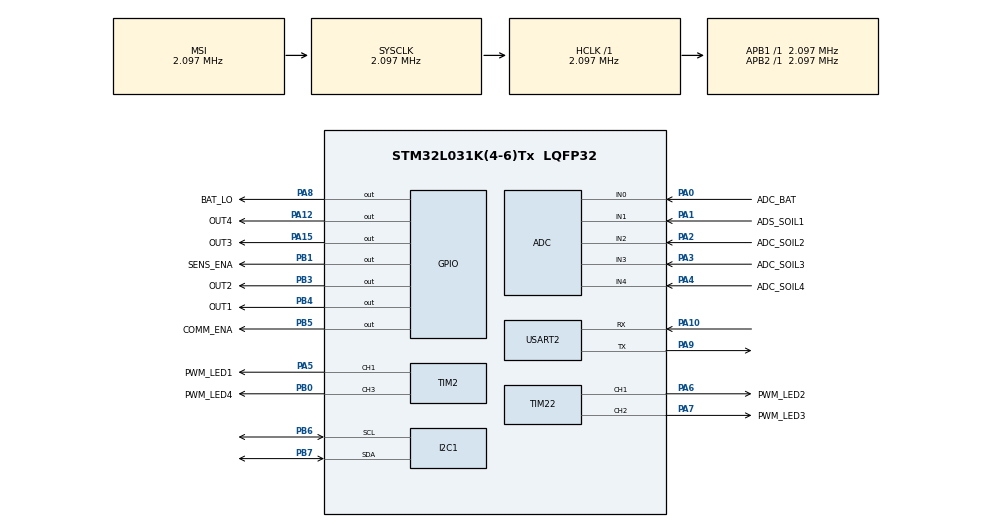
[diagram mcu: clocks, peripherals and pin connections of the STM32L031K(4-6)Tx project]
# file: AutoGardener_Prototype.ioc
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ADC.ContinuousConvMode=ENABLE
ADC.DiscontinuousConvMode=DISABLE
ADC.EOCSelection=ADC_EOC_SINGLE_CONV
ADC.SamplingTime=ADC_SAMPLETIME_19CYCLES_5
ADC.ScanConvMode=ADC_SCAN_DIRECTION_FORWARD
LPTIM1.ClockPrescaler=LPTIM_PRESCALER_DIV128
LPTIM1.UpdateMode=LPTIM_UPDATE_ENDOFPERIOD
Mcu.Family=STM32L0
Mcu.Name=STM32L031K(4-6)Tx
Mcu.Package=LQFP32
PA0-CK_IN.GPIO_Label=ADC_BAT
PA0-CK_IN.Mode=IN0
PA0-CK_IN.Signal=ADC_IN0
PA1.GPIO_Label=ADS_SOIL1
PA1.Mode=IN1
PA1.Signal=ADC_IN1
PA10.GPIO_PuPd=GPIO_NOPULL
PA10.Mode=Asynchronous
PA10.Signal=USART2_RX
PA12.GPIO_Label=OUT4
PA12.GPIO_PuPd=GPIO_PULLDOWN
PA12.Signal=GPIO_Output
PA15.GPIO_Label=OUT3
PA15.GPIO_PuPd=GPIO_PULLDOWN
PA15.Signal=GPIO_Output
PA2.GPIO_Label=ADC_SOIL2
PA2.Mode=IN2
PA2.Signal=ADC_IN2
PA3.GPIO_Label=ADC_SOIL3
PA3.Mode=IN3
PA3.Signal=ADC_IN3
PA4.GPIO_Label=ADC_SOIL4
PA4.Mode=IN4
PA4.Signal=ADC_IN4
PA5.GPIO_Label=PWM_LED1
PA5.GPIO_PuPd=GPIO_PULLDOWN
PA5.Signal=S_TIM2_CH1
PA6.GPIO_Label=PWM_LED2
PA6.GPIO_PuPd=GPIO_PULLDOWN
PA6.Signal=S_TIM22_CH1
PA7.GPIO_Label=PWM_LED3
PA7.GPIO_PuPd=GPIO_PULLDOWN
PA7.Signal=S_TIM22_CH2
PA8.GPIO_Label=BAT_LO
PA8.GPIO_PuPd=GPIO_PULLDOWN
PA8.Signal=GPIO_Output
PA9.GPIO_PuPd=GPIO_NOPULL
PA9.Mode=Asynchronous
PA9.Signal=USART2_TX
PB0.GPIO_Label=PWM_LED4
PB0.GPIO_PuPd=GPIO_PULLDOWN
PB0.Signal=S_TIM2_CH3
PB1.GPIO_Label=SENS_ENA
PB1.GPIO_PuPd=GPIO_PULLUP
PB1.PinState=GPIO_PIN_SET
PB1.Signal=GPIO_Output
PB3.GPIO_Label=OUT2
PB3.GPIO_PuPd=GPIO_PULLDOWN
PB3.Signal=GPIO_Output
PB4.GPIO_Label=OUT1
PB4.GPIO_PuPd=GPIO_PULLDOWN
PB4.Signal=GPIO_Output
PB5.GPIO_Label=COMM_ENA
PB5.GPIO_PuPd=GPIO_PULLUP
PB5.PinState=GPIO_PIN_SET
PB5.Signal=GPIO_Output
PB6.Mode=I2C
PB6.Signal=I2C1_SCL
PB7.Mode=I2C
PB7.Signal=I2C1_SDA
ProjectManager.HeapSize=0x200
ProjectManager.StackSize=0x400
ProjectManager.TargetToolchain=STM32CubeIDE
RCC.AHBFreq_Value=2097000
RCC.APB1Freq_Value=2097000
RCC.APB1TimFreq_Value=2097000
RCC.APB2Freq_Value=2097000
RCC.APB2TimFreq_Value=2097000
RCC.HSE_VALUE=8000000
RCC.HSI16_VALUE=16000000
RCC.HSI_VALUE=16000000
RCC.LSE_VALUE=32768
RCC.MSI_VALUE=2097000
RCC.SYSCLKFreq_VALUE=2097000
RCC.VCOOutputFreq_Value=48000000
SH.S_TIM22_CH1.0=TIM22_CH1,PWM Generation1 CH1
SH.S_TIM22_CH2.0=TIM22_CH2,PWM Generation2 CH2
SH.S_TIM2_CH1.0=TIM2_CH1,PWM Generation1 CH1
SH.S_TIM2_CH3.0=TIM2_CH3,PWM Generation3 CH3
TIM2.Channel-PWM\ Generation1\ CH1=TIM_CHANNEL_1
TIM2.Channel-PWM\ Generation3\ CH3=TIM_CHANNEL_3
TIM22.Channel-PWM\ Generation1\ CH1=TIM_CHANNEL_1
TIM22.Channel-PWM\ Generation2\ CH2=TIM_CHANNEL_2
USART2.VirtualMode-Asynchronous=VM_ASYNC
VP_ADC_Vref_Input.Mode=IN-Vrefint
VP_LPTIM1_VS_LPTIM_counterModeInternalClock.Mode=Counts__internal_clock_event_00
board=custom

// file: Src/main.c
/* USER CODE BEGIN Header */
/**
  ******************************************************************************
  * @file           : main.c
  * @brief          : Main program body
  ******************************************************************************
  * @attention
  *
  * <h2><center>&copy; Copyright (c) 2019 STMicroelectronics.
  * All rights reserved.</center></h2>
  *
  * This software component is licensed by ST under BSD 3-Clause license,
  * the "License"; You may not use this file except in compliance with the
  * License. You may obtain a copy of the License at:
  *                        opensource.org/licenses/BSD-3-Clause
  *
  ******************************************************************************
  */
/* USER CODE END Header */

#include "main.h"

/* USER CODE BEGIN Includes */
#include <stdbool.h>
/* USER CODE END Includes */

/* USER CODE BEGIN PD */
#define VREFINT_ADDR 0x1FF80078
#define VDD	3300

#define SOIL1_THRESHOLD_MV 	1400
#define SOIL2_THRESHOLD_MV 	1400
#define SOIL3_THRESHOLD_MV 	1400
#define SOIL4_THRESHOLD_MV 	1400	// Dry soil is cca 2V
								 	// Watering threshold is cca 1.8V
									// Wet soil is cca 0.6V

#define WATERING_TIME_MS 	5000	// water 5 seconds
#define SLEEP_TIME_MS 		900000	// once per 15 minutes
/* USER CODE END PD */

ADC_HandleTypeDef hadc;

I2C_HandleTypeDef hi2c1;

LPTIM_HandleTypeDef hlptim1;

TIM_HandleTypeDef htim2;
TIM_HandleTypeDef htim22;

UART_HandleTypeDef huart2;

/* USER CODE BEGIN PV */
uint32_t r_single_int_channel_ADC(uint32_t channel);
void config_int_channel_ADC(uint32_t channel, uint8_t val);
uint32_t r_single_ext_channel_ADC(uint32_t channel);
void config_ext_channel_ADC(uint32_t channel, uint8_t val);
/* USER CODE END PV */

void SystemClock_Config(void);
static void MX_GPIO_Init(void);
static void MX_TIM2_Init(void);
static void MX_TIM22_Init(void);
static void MX_ADC_Init(void);
static void MX_USART2_UART_Init(void);
static void MX_I2C1_Init(void);
static void MX_LPTIM1_Init(void);

int main(void)
{
  /* USER CODE BEGIN 1 */
	uint16_t vrefint_cal= *((uint16_t*)VREFINT_ADDR);
  /* USER CODE END 1 */

  /* MCU Configuration--------------------------------------------------------*/

  /* Reset of all peripherals, Initializes the Flash interface and the Systick. */
  HAL_Init();

  /* Configure the system clock */
  SystemClock_Config();

  /* Initialize all configured peripherals */
  MX_GPIO_Init();
  MX_TIM2_Init();
  MX_TIM22_Init();
  MX_ADC_Init();
  MX_USART2_UART_Init();
  MX_I2C1_Init();
  MX_LPTIM1_Init();
  /* USER CODE BEGIN 2 */

  HAL_GPIO_WritePin(BAT_LO_GPIO_Port, BAT_LO_Pin, 1);

	HAL_GPIO_WritePin(SENS_ENA_GPIO_Port, SENS_ENA_Pin, 0);
  /* USER CODE END 2 */

  /* Infinite loop */
  /* USER CODE BEGIN WHILE */
  while (1)
  {

	  uint16_t vbat_adc = r_single_ext_channel_ADC(ADC_CHANNEL_0);
	  uint16_t soil1_adc = r_single_ext_channel_ADC(ADC_CHANNEL_1);
	  uint16_t soil2_adc = r_single_ext_channel_ADC(ADC_CHANNEL_2);
	  uint16_t soil3_adc = r_single_ext_channel_ADC(ADC_CHANNEL_3);
	  uint16_t soil4_adc = r_single_ext_channel_ADC(ADC_CHANNEL_4);
	  uint16_t vrefint_adc = r_single_int_channel_ADC(ADC_CHANNEL_VREFINT);

	  uint16_t vdd_real = VDD*vrefint_cal/vrefint_adc;

	  uint16_t vbat = vdd_real*vbat_adc/4095;
	  uint16_t soil1 = vdd_real*soil1_adc/4095;
	  uint16_t soil2 = vdd_real*soil2_adc/4095;
	  uint16_t soil3 = vdd_real*soil3_adc/4095;
	  uint16_t soil4 = vdd_real*soil4_adc/4095;

	  /*if (soil1 >= 2000)
	  {
			HAL_GPIO_WritePin(OUT1_GPIO_Port, OUT1_Pin, GPIO_PIN_SET);
	  } else
	  {

			HAL_GPIO_WritePin(OUT1_GPIO_Port, OUT1_Pin, GPIO_PIN_RESET);
	  }*/

	  HAL_GPIO_WritePin(OUT1_GPIO_Port, OUT1_Pin, soil1 >= SOIL1_THRESHOLD_MV);
	  HAL_GPIO_WritePin(OUT2_GPIO_Port, OUT2_Pin, soil2 >= SOIL2_THRESHOLD_MV);
	  HAL_GPIO_WritePin(OUT3_GPIO_Port, OUT3_Pin, soil3 >= SOIL3_THRESHOLD_MV);
	  HAL_GPIO_WritePin(OUT4_GPIO_Port, OUT4_Pin, soil4 >= SOIL4_THRESHOLD_MV);

	  HAL_Delay(WATERING_TIME_MS);

	  HAL_GPIO_WritePin(OUT1_GPIO_Port, OUT1_Pin, 0);
	  HAL_GPIO_WritePin(OUT2_GPIO_Port, OUT2_Pin, 0);
	  HAL_GPIO_WritePin(OUT3_GPIO_Port, OUT3_Pin, 0);
	  HAL_GPIO_WritePin(OUT4_GPIO_Port, OUT4_Pin, 0);

	  HAL_Delay(SLEEP_TIME_MS);
    /* USER CODE END WHILE */

  }
}

void SystemClock_Config(void)
{
  RCC_OscInitTypeDef RCC_OscInitStruct = {0};
  RCC_ClkInitTypeDef RCC_ClkInitStruct = {0};
  RCC_PeriphCLKInitTypeDef PeriphClkInit = {0};

  /** Configure the main internal regulator output voltage
  */
  __HAL_PWR_VOLTAGESCALING_CONFIG(PWR_REGULATOR_VOLTAGE_SCALE1);
  /** Initializes the CPU, AHB and APB busses clocks
  */
  RCC_OscInitStruct.OscillatorType = RCC_OSCILLATORTYPE_MSI;
  RCC_OscInitStruct.MSIState = RCC_MSI_ON;
  RCC_OscInitStruct.MSICalibrationValue = 0;
  RCC_OscInitStruct.MSIClockRange = RCC_MSIRANGE_5;
  RCC_OscInitStruct.PLL.PLLState = RCC_PLL_NONE;
  if (HAL_RCC_OscConfig(&RCC_OscInitStruct) != HAL_OK)
  {
    Error_Handler();
  }
  /** Initializes the CPU, AHB and APB busses clocks
  */
  RCC_ClkInitStruct.ClockType = RCC_CLOCKTYPE_HCLK|RCC_CLOCKTYPE_SYSCLK
                              |RCC_CLOCKTYPE_PCLK1|RCC_CLOCKTYPE_PCLK2;
  RCC_ClkInitStruct.SYSCLKSource = RCC_SYSCLKSOURCE_MSI;
  RCC_ClkInitStruct.AHBCLKDivider = RCC_SYSCLK_DIV1;
  RCC_ClkInitStruct.APB1CLKDivider = RCC_HCLK_DIV1;
  RCC_ClkInitStruct.APB2CLKDivider = RCC_HCLK_DIV1;

  if (HAL_RCC_ClockConfig(&RCC_ClkInitStruct, FLASH_LATENCY_0) != HAL_OK)
  {
    Error_Handler();
  }
  PeriphClkInit.PeriphClockSelection = RCC_PERIPHCLK_USART2|RCC_PERIPHCLK_I2C1
                              |RCC_PERIPHCLK_LPTIM1;
  PeriphClkInit.Usart2ClockSelection = RCC_USART2CLKSOURCE_PCLK1;
  PeriphClkInit.I2c1ClockSelection = RCC_I2C1CLKSOURCE_PCLK1;
  PeriphClkInit.LptimClockSelection = RCC_LPTIM1CLKSOURCE_PCLK;

  if (HAL_RCCEx_PeriphCLKConfig(&PeriphClkInit) != HAL_OK)
  {
    Error_Handler();
  }
}

static void MX_ADC_Init(void)
{

  ADC_ChannelConfTypeDef sConfig = {0};

  /** Configure the global features of the ADC (Clock, Resolution, Data Alignment and number of conversion)
  */
  hadc.Instance = ADC1;
  hadc.Init.OversamplingMode = DISABLE;
  hadc.Init.ClockPrescaler = ADC_CLOCK_SYNC_PCLK_DIV1;
  hadc.Init.Resolution = ADC_RESOLUTION_12B;
  hadc.Init.SamplingTime = ADC_SAMPLETIME_19CYCLES_5;
  hadc.Init.ScanConvMode = ADC_SCAN_DIRECTION_FORWARD;
  hadc.Init.DataAlign = ADC_DATAALIGN_RIGHT;
  hadc.Init.ContinuousConvMode = ENABLE;
  hadc.Init.DiscontinuousConvMode = DISABLE;
  hadc.Init.ExternalTrigConvEdge = ADC_EXTERNALTRIGCONVEDGE_NONE;
  hadc.Init.ExternalTrigConv = ADC_SOFTWARE_START;
  hadc.Init.DMAContinuousRequests = DISABLE;
  hadc.Init.EOCSelection = ADC_EOC_SINGLE_CONV;
  hadc.Init.Overrun = ADC_OVR_DATA_PRESERVED;
  hadc.Init.LowPowerAutoWait = DISABLE;
  hadc.Init.LowPowerFrequencyMode = DISABLE;
  hadc.Init.LowPowerAutoPowerOff = DISABLE;
  if (HAL_ADC_Init(&hadc) != HAL_OK)
  {
    Error_Handler();
  }
  /** Configure for the selected ADC regular channel to be converted.
  */
  sConfig.Channel = ADC_CHANNEL_0;
  sConfig.Rank = ADC_RANK_CHANNEL_NUMBER;
  if (HAL_ADC_ConfigChannel(&hadc, &sConfig) != HAL_OK)
  {
    Error_Handler();
  }
  /** Configure for the selected ADC regular channel to be converted.
  */
  sConfig.Channel = ADC_CHANNEL_1;
  if (HAL_ADC_ConfigChannel(&hadc, &sConfig) != HAL_OK)
  {
    Error_Handler();
  }
  /** Configure for the selected ADC regular channel to be converted.
  */
  sConfig.Channel = ADC_CHANNEL_2;
  if (HAL_ADC_ConfigChannel(&hadc, &sConfig) != HAL_OK)
  {
    Error_Handler();
  }
  /** Configure for the selected ADC regular channel to be converted.
  */
  sConfig.Channel = ADC_CHANNEL_3;
  if (HAL_ADC_ConfigChannel(&hadc, &sConfig) != HAL_OK)
  {
    Error_Handler();
  }
  /** Configure for the selected ADC regular channel to be converted.
  */
  sConfig.Channel = ADC_CHANNEL_4;
  if (HAL_ADC_ConfigChannel(&hadc, &sConfig) != HAL_OK)
  {
    Error_Handler();
  }
  /** Configure for the selected ADC regular channel to be converted.
  */
  sConfig.Channel = ADC_CHANNEL_VREFINT;
  if (HAL_ADC_ConfigChannel(&hadc, &sConfig) != HAL_OK)
  {
    Error_Handler();
  }

}

static void MX_I2C1_Init(void)
{

  hi2c1.Instance = I2C1;
  hi2c1.Init.Timing = 0x00000708;
  hi2c1.Init.OwnAddress1 = 0;
  hi2c1.Init.AddressingMode = I2C_ADDRESSINGMODE_7BIT;
  hi2c1.Init.DualAddressMode = I2C_DUALADDRESS_DISABLE;
  hi2c1.Init.OwnAddress2 = 0;
  hi2c1.Init.OwnAddress2Masks = I2C_OA2_NOMASK;
  hi2c1.Init.GeneralCallMode = I2C_GENERALCALL_DISABLE;
  hi2c1.Init.NoStretchMode = I2C_NOSTRETCH_DISABLE;
  if (HAL_I2C_Init(&hi2c1) != HAL_OK)
  {
    Error_Handler();
  }
  /** Configure Analogue filter
  */
  if (HAL_I2CEx_ConfigAnalogFilter(&hi2c1, I2C_ANALOGFILTER_ENABLE) != HAL_OK)
  {
    Error_Handler();
  }
  /** Configure Digital filter
  */
  if (HAL_I2CEx_ConfigDigitalFilter(&hi2c1, 0) != HAL_OK)
  {
    Error_Handler();
  }

}

static void MX_LPTIM1_Init(void)
{

  hlptim1.Instance = LPTIM1;
  hlptim1.Init.Clock.Source = LPTIM_CLOCKSOURCE_APBCLOCK_LPOSC;
  hlptim1.Init.Clock.Prescaler = LPTIM_PRESCALER_DIV128;
  hlptim1.Init.Trigger.Source = LPTIM_TRIGSOURCE_SOFTWARE;
  hlptim1.Init.OutputPolarity = LPTIM_OUTPUTPOLARITY_HIGH;
  hlptim1.Init.UpdateMode = LPTIM_UPDATE_ENDOFPERIOD;
  hlptim1.Init.CounterSource = LPTIM_COUNTERSOURCE_INTERNAL;
  if (HAL_LPTIM_Init(&hlptim1) != HAL_OK)
  {
    Error_Handler();
  }

}

static void MX_TIM2_Init(void)
{

  TIM_MasterConfigTypeDef sMasterConfig = {0};
  TIM_OC_InitTypeDef sConfigOC = {0};

  htim2.Instance = TIM2;
  htim2.Init.Prescaler = 0;
  htim2.Init.CounterMode = TIM_COUNTERMODE_UP;
  htim2.Init.Period = 0;
  htim2.Init.ClockDivision = TIM_CLOCKDIVISION_DIV1;
  htim2.Init.AutoReloadPreload = TIM_AUTORELOAD_PRELOAD_DISABLE;
  if (HAL_TIM_PWM_Init(&htim2) != HAL_OK)
  {
    Error_Handler();
  }
  sMasterConfig.MasterOutputTrigger = TIM_TRGO_RESET;
  sMasterConfig.MasterSlaveMode = TIM_MASTERSLAVEMODE_DISABLE;
  if (HAL_TIMEx_MasterConfigSynchronization(&htim2, &sMasterConfig) != HAL_OK)
  {
    Error_Handler();
  }
  sConfigOC.OCMode = TIM_OCMODE_PWM1;
  sConfigOC.Pulse = 0;
  sConfigOC.OCPolarity = TIM_OCPOLARITY_HIGH;
  sConfigOC.OCFastMode = TIM_OCFAST_DISABLE;
  if (HAL_TIM_PWM_ConfigChannel(&htim2, &sConfigOC, TIM_CHANNEL_1) != HAL_OK)
  {
    Error_Handler();
  }
  if (HAL_TIM_PWM_ConfigChannel(&htim2, &sConfigOC, TIM_CHANNEL_3) != HAL_OK)
  {
    Error_Handler();
  }
  HAL_TIM_MspPostInit(&htim2);

}

static void MX_TIM22_Init(void)
{

  TIM_MasterConfigTypeDef sMasterConfig = {0};
  TIM_OC_InitTypeDef sConfigOC = {0};

  htim22.Instance = TIM22;
  htim22.Init.Prescaler = 0;
  htim22.Init.CounterMode = TIM_COUNTERMODE_UP;
  htim22.Init.Period = 0;
  htim22.Init.ClockDivision = TIM_CLOCKDIVISION_DIV1;
  htim22.Init.AutoReloadPreload = TIM_AUTORELOAD_PRELOAD_DISABLE;
  if (HAL_TIM_PWM_Init(&htim22) != HAL_OK)
  {
    Error_Handler();
  }
  sMasterConfig.MasterOutputTrigger = TIM_TRGO_RESET;
  sMasterConfig.MasterSlaveMode = TIM_MASTERSLAVEMODE_DISABLE;
  if (HAL_TIMEx_MasterConfigSynchronization(&htim22, &sMasterConfig) != HAL_OK)
  {
    Error_Handler();
  }
  sConfigOC.OCMode = TIM_OCMODE_PWM1;
  sConfigOC.Pulse = 0;
  sConfigOC.OCPolarity = TIM_OCPOLARITY_HIGH;
  sConfigOC.OCFastMode = TIM_OCFAST_DISABLE;
  if (HAL_TIM_PWM_ConfigChannel(&htim22, &sConfigOC, TIM_CHANNEL_1) != HAL_OK)
  {
    Error_Handler();
  }
  if (HAL_TIM_PWM_ConfigChannel(&htim22, &sConfigOC, TIM_CHANNEL_2) != HAL_OK)
  {
    Error_Handler();
  }
  HAL_TIM_MspPostInit(&htim22);

}

static void MX_USART2_UART_Init(void)
{

  huart2.Instance = USART2;
  huart2.Init.BaudRate = 115200;
  huart2.Init.WordLength = UART_WORDLENGTH_8B;
  huart2.Init.StopBits = UART_STOPBITS_1;
  huart2.Init.Parity = UART_PARITY_NONE;
  huart2.Init.Mode = UART_MODE_TX_RX;
  huart2.Init.HwFlowCtl = UART_HWCONTROL_NONE;
  huart2.Init.OverSampling = UART_OVERSAMPLING_16;
  huart2.Init.OneBitSampling = UART_ONE_BIT_SAMPLE_DISABLE;
  huart2.AdvancedInit.AdvFeatureInit = UART_ADVFEATURE_NO_INIT;
  if (HAL_UART_Init(&huart2) != HAL_OK)
  {
    Error_Handler();
  }

}

static void MX_GPIO_Init(void)
{
  GPIO_InitTypeDef GPIO_InitStruct = {0};

  /* GPIO Ports Clock Enable */
  __HAL_RCC_GPIOA_CLK_ENABLE();
  __HAL_RCC_GPIOB_CLK_ENABLE();

  /*Configure GPIO pin Output Level */
  HAL_GPIO_WritePin(GPIOB, SENS_ENA_Pin|COMM_ENA_Pin, GPIO_PIN_SET);

  /*Configure GPIO pin Output Level */
  HAL_GPIO_WritePin(GPIOA, BAT_LO_Pin|OUT4_Pin|OUT3_Pin, GPIO_PIN_RESET);

  /*Configure GPIO pin Output Level */
  HAL_GPIO_WritePin(GPIOB, OUT2_Pin|OUT1_Pin, GPIO_PIN_RESET);

  /*Configure GPIO pins : SENS_ENA_Pin COMM_ENA_Pin */
  GPIO_InitStruct.Pin = SENS_ENA_Pin|COMM_ENA_Pin;
  GPIO_InitStruct.Mode = GPIO_MODE_OUTPUT_PP;
  GPIO_InitStruct.Pull = GPIO_PULLUP;
  GPIO_InitStruct.Speed = GPIO_SPEED_FREQ_LOW;
  HAL_GPIO_Init(GPIOB, &GPIO_InitStruct);

  /*Configure GPIO pins : BAT_LO_Pin OUT4_Pin OUT3_Pin */
  GPIO_InitStruct.Pin = BAT_LO_Pin|OUT4_Pin|OUT3_Pin;
  GPIO_InitStruct.Mode = GPIO_MODE_OUTPUT_PP;
  GPIO_InitStruct.Pull = GPIO_PULLDOWN;
  GPIO_InitStruct.Speed = GPIO_SPEED_FREQ_LOW;
  HAL_GPIO_Init(GPIOA, &GPIO_InitStruct);

  /*Configure GPIO pins : OUT2_Pin OUT1_Pin */
  GPIO_InitStruct.Pin = OUT2_Pin|OUT1_Pin;
  GPIO_InitStruct.Mode = GPIO_MODE_OUTPUT_PP;
  GPIO_InitStruct.Pull = GPIO_PULLDOWN;
  GPIO_InitStruct.Speed = GPIO_SPEED_FREQ_LOW;
  HAL_GPIO_Init(GPIOB, &GPIO_InitStruct);

}

/* USER CODE BEGIN 4 */
void config_int_channel_ADC(uint32_t channel, uint8_t val)
{
  ADC_ChannelConfTypeDef sConfig;
  sConfig.Channel = channel;

  if(val == 1)
  {
    if(channel == ADC_CHANNEL_VREFINT)
    {
      ADC->CCR |= ADC_CCR_VREFEN;
      hadc.Instance->CHSELR = (uint32_t)(ADC_CHSELR_CHSEL17);
    }
    else if(channel == ADC_CHANNEL_TEMPSENSOR)
    {
      ADC->CCR |= ADC_CCR_TSEN;
      hadc.Instance->CHSELR = (uint32_t)(ADC_CHSELR_CHSEL6);
    }

    sConfig.Rank          = ADC_RANK_CHANNEL_NUMBER;
  }
  else if(val == 0)
  {
    if(channel == ADC_CHANNEL_VREFINT)
    {
      ADC->CCR &= ~ADC_CCR_VREFEN;
      hadc.Instance->CHSELR = 0;
    }
    else if(channel == ADC_CHANNEL_TEMPSENSOR)
    {
      ADC->CCR &= ~ADC_CCR_TSEN;
      hadc.Instance->CHSELR = 0;
    }

    sConfig.Rank          = ADC_RANK_NONE;
  }

  HAL_ADC_ConfigChannel(&hadc,&sConfig);
}

uint32_t r_single_int_channel_ADC(uint32_t channel)
{
  uint32_t digital_result;

  config_int_channel_ADC(channel, 1);

  HAL_ADC_Start(&hadc);
  HAL_ADC_PollForConversion(&hadc, 1000);
  digital_result = HAL_ADC_GetValue(&hadc);
  HAL_ADC_Stop(&hadc);

  config_int_channel_ADC(channel, 0);

  return digital_result;
}

void config_ext_channel_ADC(uint32_t channel, uint8_t val)
{
  ADC_ChannelConfTypeDef sConfig;

  sConfig.Channel = channel;

  if(1 == val)
  {
    sConfig.Rank = ADC_RANK_CHANNEL_NUMBER;
  }
  else
  {
    sConfig.Rank = ADC_RANK_NONE;
  }

  HAL_ADC_ConfigChannel(&hadc, &sConfig);
}

uint32_t r_single_ext_channel_ADC(uint32_t channel)
{
  uint32_t digital_result;

  config_ext_channel_ADC(channel, 1);

  HAL_ADC_Start(&hadc);
  HAL_ADC_PollForConversion(&hadc, 1000);
  digital_result = HAL_ADC_GetValue(&hadc);
  HAL_ADC_Stop(&hadc);

  config_ext_channel_ADC(channel, 0);

  return digital_result;
}
/* USER CODE END 4 */

void Error_Handler(void)
{
}

/************************ (C) COPYRIGHT STMicroelectronics *****END OF FILE****/
